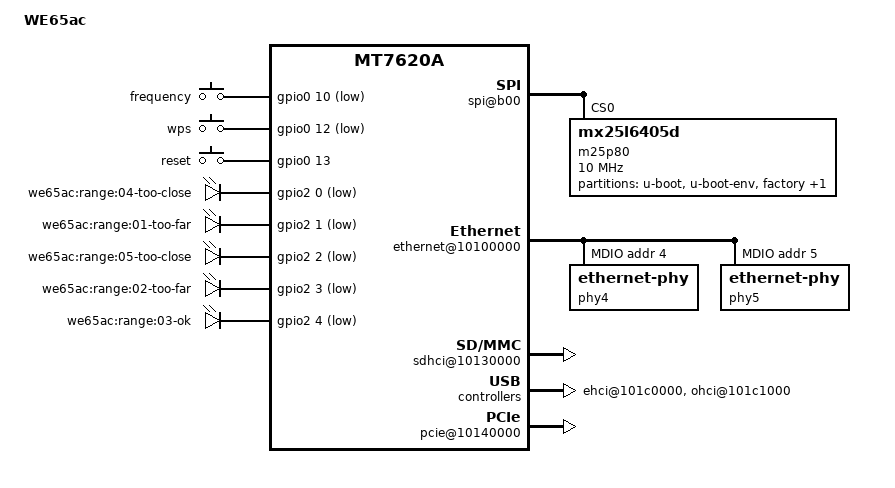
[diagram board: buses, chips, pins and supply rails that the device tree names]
/*****************************************************************************/
/*               _____                      _  ______ _____                  */
/*              /  ___|                    | | | ___ \  __ \                 */
/*              \ `--. _ __ ___   __ _ _ __| |_| |_/ / |  \/                 */
/*               `--. \ '_ ` _ \ / _` | '__| __|    /| | __                  */
/*              /\__/ / | | | | | (_| | |  | |_| |\ \| |_\ \                 */
/*              \____/|_| |_| |_|\__,_|_|   \__\_| \_|\____/ Inc.            */
/*                                                                           */
/*****************************************************************************/
/*                                                                           */
/*                      copyright 2016 by SmartRG, Inc.                      */
/*                             Santa Barbara, CA                             */
/*                                                                           */
/*****************************************************************************/
/*                                                                           */
/* Author: Chad Monroe,                                                      */
/*                                                                           */
/* Purpose: Device tree for SmartRG WE65ac WiFi extender (MT7260 + MT7612E)  */
/*                                                                           */
/*****************************************************************************/
/dts-v1/;

/include/ "mt7620a.dtsi"

/ {
	compatible = "ralink,mt7620a-soc";
	model = "WE65ac";

	chosen {
		bootargs = "console=ttyS0,57600";
	};

	palmbus@10000000 {
		gpio2: gpio@660 {
			status = "okay";
		};

		gpio3: gpio@688 {
			status = "okay";
		};

		spi@b00 {
			status = "okay";

			m25p80@0 {
				#address-cells = <1>;
				#size-cells = <1>;
				compatible = "mx25l6405d";
				reg = <0 0>;
				linux,modalias = "m25p80", "mx25l6405d";
				spi-max-frequency = <10000000>;

				partition@0 {
					label = "u-boot";
					reg = <0x0 0x30000>;
					read-only;
				};

				partition@30000 {
					label = "u-boot-env";
					reg = <0x30000 0x10000>;
					read-only;
				};

				factory: partition@40000 {
					label = "factory";
					reg = <0x40000 0x10000>;
				};

				partition@50000 {
					label = "firmware";
					reg = <0x50000 0x7b0000>;
				};
			};
		};
	};

	pinctrl {
		state_default: pinctrl0 {
			gpio {
				ralink,group = "ephy", "wled", "i2c", "uartf";
				ralink,function = "gpio";
			};
		};
	};

	ethernet@10100000 {
		status = "okay";

		pinctrl-names = "default";
		pinctrl-0 = <&rgmii1_pins &rgmii2_pins &mdio_pins>;

		mtd-mac-address = <&factory 0x28>;
		ralink,port-map = "llllw";

		port@4 {
			status = "okay";
			phy-mode = "rgmii";
			phy-handle = <&phy4>;
		};

		port@5 {
			status = "okay";
			phy-mode = "rgmii";
			phy-handle = <&phy5>;
		};

		mdio-bus {
			status = "okay";

			phy4: ethernet-phy@4 {
				reg = <4>;
				phy-mode = "rgmii";
			};

			phy5: ethernet-phy@5 {
				reg = <5>;
				phy-mode = "rgmii";
			};
		};
	};

	gsw@10110000 {
		ralink,port4 = "gmac";
	};

	sdhci@10130000 {
		status = "okay";
	};

	ehci@101c0000 {
		status = "okay";
	};

	ohci@101c1000 {
		status = "okay";
	};

	wmac@10180000 {
		ralink,mtd-eeprom = <&factory 0x0>;
	};

	pcie@10140000 {
		status = "okay";
		pcie-bridge {
			mt76@0,0 {
				reg = <0x0000 0 0 0 0>;
				device_type = "pci";
				mediatek,mtd-eeprom = <&factory 0x8000>;
				mediatek,5ghz = <0>;
			};
		};
	};

	gpio-keys-polled {
		compatible = "gpio-keys-polled";
		#address-cells = <1>;
		#size-cells = <0>;
		poll-interval = <20>;
		frequency {
			label = "frequency";
			gpios = <&gpio0 10 1>;
			linux,code = <0x100>;
		};
		wps {
			label = "wps";
			gpios = <&gpio0 12 1>;
			linux,code = <0x102>;
		};
		reset {
			label = "reset";
			gpios = <&gpio0 13 0>;
			linux,code = <0x103>;
		};
	};

	gpio-leds {
		compatible = "gpio-leds";
		wan {
			label = "we65ac:range:04-too-close";
			gpios = <&gpio2 0 1>;
		};
		lan {
			label = "we65ac:range:01-too-far";
			gpios = <&gpio2 1 1>;
		};
		usb {
			label = "we65ac:range:05-too-close";
			gpios = <&gpio2 2 1>;
		};
		power {
			label = "we65ac:range:02-too-far";
			gpios = <&gpio2 3 1>;
		};
		air {
			label = "we65ac:range:03-ok";
			gpios = <&gpio2 4 1>;
		};
	};
};
